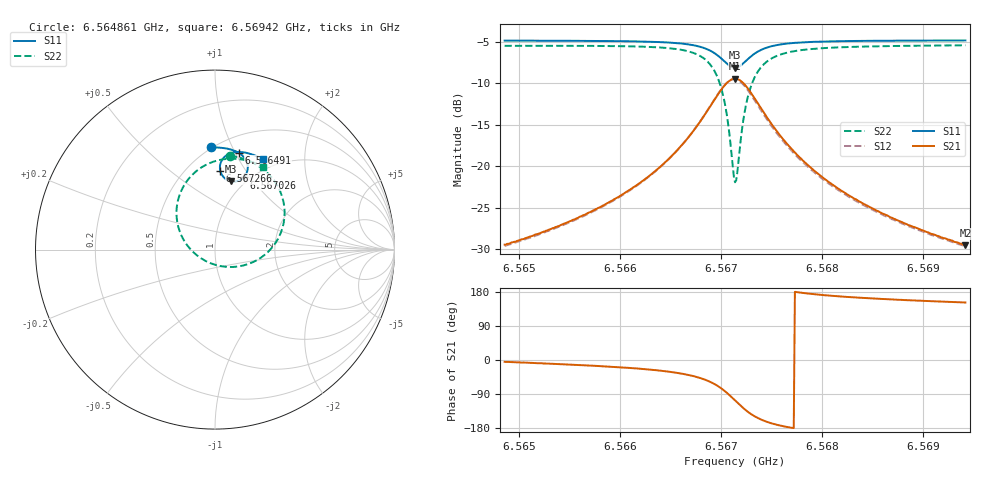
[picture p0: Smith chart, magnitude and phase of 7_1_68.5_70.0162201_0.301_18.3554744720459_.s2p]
#  HZ  S  RI  R  50.00
! Rohde & Schwarz Vector Network Analyzer
! Rohde-Schwarz,ZNB20-2Port,1311601062101988,3.16
! Created: UTC 3/20/2024, 4:48:51 PM
! freq[Hz]  re:S11  im:S11  re:S21  im:S21  re:S12  im:S12  re:S22  im:S22
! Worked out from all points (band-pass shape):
!   401 points, 6.564861 GHz to 6.56942 GHz, reference 50 ohm
!   highest |S21| = -9.47 dB at 6.56714 GHz (marker M1); lowest = -29.5 dB at 6.56942 GHz (marker M2)
!   |S21| within 3 dB of the highest: 6.566913 GHz to 6.567368 GHz (455.3 kHz wide, 0.00693 % of centre)
!   lowest |S11| = -8.2 dB at 6.56714 GHz (marker M3), VSWR 2.28, Z = 43.3 + j38.9 ohm
!   |S11| at or under -10 dB: nowhere
!   |S22| runs from -22.0 to -5.4 dB; largest |S21 - S12| = 0.018
!   S11 on the Smith chart (normalised r, x): 6.564861 GHz: 0.49, +0.83; 6.566491 GHz: 0.67, +1.04; 6.567026 GHz: 0.94, +0.93; 6.567266 GHz: 0.71, +0.77; 6.56942 GHz: 0.86, +1.28
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6.5648606e9  -0.0221 0.569  0.0335 -0.00283  0.0328 -0.00335  0.0835 0.5235
6.5656243e9  0.0431 0.5663  0.0487 -0.0118  0.0479 -0.0123  0.164 0.5039
6.5660461e9  0.0833 0.559  0.0644 -0.0236  0.0635 -0.0243  0.2219 0.4781
6.5663881e9  0.1211 0.5452  0.0863 -0.0454  0.0851 -0.0466  0.2854 0.4331
6.5664907e9  0.1339 0.5382  0.0955 -0.0574  0.0941 -0.0587  0.3091 0.4091
6.5666959e9  0.1619 0.514  0.1167 -0.0995  0.115 -0.1016  0.3619 0.3268
6.5668555e9  0.1807 0.4752  0.1258 -0.168  0.1224 -0.1721  0.3877 0.1945
6.5669581e9  0.1788 0.4339  0.1041 -0.2409  0.0968 -0.2461  0.3485 0.0557
6.5670265e9  0.1598 0.4022  0.0561 -0.2952  0.0442 -0.2992  0.2569 -0.0442
6.5670835e9  0.1281 0.3826  -0.0123 -0.3255  -0.028 -0.325  0.128 -0.0943
6.5671177e9  0.1039 0.3788  -0.0624 -0.3283  -0.0787 -0.3236  0.0369 -0.093
6.5671405e9  0.0871 0.381  -0.0963 -0.3218  -0.112 -0.3141  -0.0229 -0.0765
6.5671633e9  0.0711 0.3865  -0.1279 -0.3089  -0.1424 -0.2984  -0.0778 -0.0484
6.5672203e9  0.0408 0.4127  -0.1887 -0.2549  -0.1974 -0.2402  -0.1761 0.0565
6.5672659e9  0.0292 0.4389  -0.2131 -0.2032  -0.217 -0.1882  -0.2099 0.1511
6.5673571e9  0.0319 0.4845  -0.2148 -0.1152  -0.2126 -0.1037  -0.1973 0.3046
6.5674939e9  0.0596 0.5223  -0.1773 -0.0425  -0.1732 -0.0363  -0.1167 0.4263
6.5676534e9  0.0918 0.5389  -0.1363 -0.00813  -0.1328 -0.00481  -0.0323 0.4809
6.5679042e9  0.131 0.5442  -0.0956 0.00976  -0.0932 0.0115  0.0563 0.5046
6.5682462e9  0.1706 0.5399  -0.0659 0.0159  -0.0643 0.0166  0.1313 0.5044
6.568668e9  0.21 0.529  -0.0466 0.0168  -0.0455 0.0173  0.192 0.4922
6.5694204e9  0.2692 0.5037  -0.0294 0.0158  -0.0288 0.016  0.2677 0.4622
